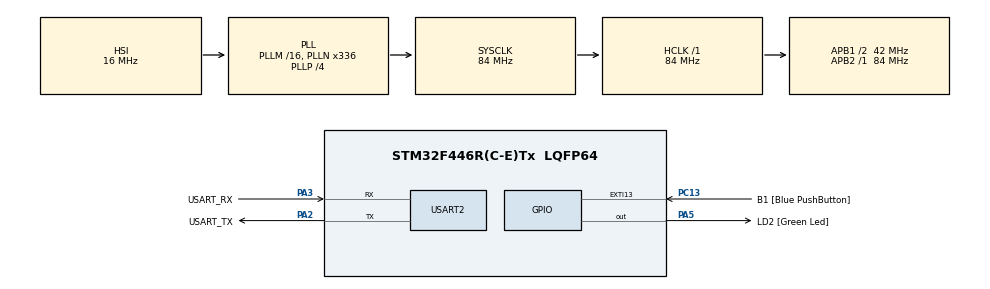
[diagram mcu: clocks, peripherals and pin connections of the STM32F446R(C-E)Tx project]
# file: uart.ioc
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Mcu.Family=STM32F4
Mcu.Name=STM32F446R(C-E)Tx
Mcu.Package=LQFP64
NVIC.PriorityGroup=NVIC_PRIORITYGROUP_0
NVIC.USART2_IRQn=true\:0\:0\:false\:false\:true\:true\:true\:true
PA13.GPIO_Label=TMS
PA13.Mode=Serial_Wire
PA13.Signal=SYS_JTMS-SWDIO
PA14.GPIO_Label=TCK
PA14.Mode=Serial_Wire
PA14.Signal=SYS_JTCK-SWCLK
PA2.GPIO_Label=USART_TX
PA2.Mode=Asynchronous
PA2.Signal=USART2_TX
PA3.GPIO_Label=USART_RX
PA3.Mode=Asynchronous
PA3.Signal=USART2_RX
PA5.GPIO_Label=LD2 [Green Led]
PA5.Signal=GPIO_Output
PB3.GPIO_Label=SWO
PB3.Signal=SYS_JTDO-SWO
PC13.GPIO_Label=B1 [Blue PushButton]
PC13.GPIO_ModeDefaultEXTI=GPIO_MODE_IT_FALLING
PC13.Signal=GPXTI13
PC14-OSC32_IN.Mode=LSE-External-Oscillator
PC14-OSC32_IN.Signal=RCC_OSC32_IN
PC15-OSC32_OUT.Mode=LSE-External-Oscillator
PC15-OSC32_OUT.Signal=RCC_OSC32_OUT
PH0-OSC_IN.Mode=HSE-External-Oscillator
PH0-OSC_IN.Signal=RCC_OSC_IN
PH1-OSC_OUT.Mode=HSE-External-Oscillator
PH1-OSC_OUT.Signal=RCC_OSC_OUT
ProjectManager.HeapSize=0x200
ProjectManager.StackSize=0x400
ProjectManager.TargetToolchain=STM32CubeIDE
RCC.48MHZClocksFreq_Value=84000000
RCC.AHBFreq_Value=84000000
RCC.APB1CLKDivider=RCC_HCLK_DIV2
RCC.APB1Freq_Value=42000000
RCC.APB1TimFreq_Value=84000000
RCC.APB2Freq_Value=84000000
RCC.APB2TimFreq_Value=84000000
RCC.CortexFreq_Value=84000000
RCC.FLatency-AdvancedSettings=FLASH_LATENCY_2
RCC.HCLKFreq_Value=84000000
RCC.HSE_VALUE=8000000
RCC.HSI_VALUE=16000000
RCC.PLLN=336
RCC.PLLP=RCC_PLLP_DIV4
RCC.SYSCLKFreq_VALUE=84000000
RCC.SYSCLKSource=RCC_SYSCLKSOURCE_PLLCLK
RCC.USBFreq_Value=168000000
RCC.VCOOutputFreq_Value=336000000
USART2.VirtualMode=VM_ASYNC
board=NUCLEO-F446RE

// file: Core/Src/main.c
/* USER CODE BEGIN Header */
/**
 ******************************************************************************
 * @file           : main.c
 * @brief          : Main program body
 ******************************************************************************
 * @attention
 *
 * Copyright (c) 2025 STMicroelectronics.
 * All rights reserved.
 *
 * This software is licensed under terms that can be found in the LICENSE file
 * in the root directory of this software component.
 * If no LICENSE file comes with this software, it is provided AS-IS.
 *
 ******************************************************************************
 */
/* USER CODE END Header */
#include "main.h"

/* USER CODE BEGIN PM */
#define TIEMPO_500_MS 500
#define TIEMPO_100_MS 100
#define BUTTON_PIN GPIO_PIN_13
#define BUTTON_PORT GPIOC
#define LED_PIN GPIO_PIN_5
#define LED_PORT GPIOA
/* USER CODE END PM */

UART_HandleTypeDef huart2;

void SystemClock_Config(void);
static void MX_GPIO_Init(void);
static void MX_USART2_UART_Init(void);

/* USER CODE BEGIN 0 */
char data_rx[10];
volatile uint8_t rx_flag = 0;
volatile uint8_t tx_flag = 0;
/* USER CODE END 0 */

int main(void)
{

	/* MCU Configuration--------------------------------------------------------*/

	/* Reset of all peripherals, Initializes the Flash interface and the Systick. */
	HAL_Init();

	/* Configure the system clock */
	SystemClock_Config();

	/* Initialize all configured peripherals */
	MX_GPIO_Init();
	MX_USART2_UART_Init();
	/* USER CODE BEGIN 2 */

	// Parte 1
	//HAL_UART_Transmit(&huart2, "Hola buenas noches \n\r", 23, HAL_MAX_DELAY);

	// Parte 2 NVIC
	HAL_UART_Receive_IT(&huart2, data_rx, sizeof(data_rx));

	// Parte 3 TX NVIC
	HAL_UART_Transmit_IT(&huart2, "hola mundo\n\r", 14);
	/* USER CODE END 2 */

	/* Infinite loop */
	while (1)
	{

		/* USER CODE BEGIN 3 */
		// Parte 1
		/*
		if (HAL_UART_Receive(&huart2, data_rx, sizeof(data_rx), HAL_MAX_DELAY) == HAL_OK)
		{
			HAL_UART_Transmit(&huart2, data_rx, sizeof(data_rx), HAL_MAX_DELAY);
		}
		 */

		// Parte 2
		if (rx_flag == 1)
		{
			HAL_GPIO_TogglePin(LD2_GPIO_Port, LD2_Pin);
			rx_flag = 0;
		}
		if (tx_flag == 1)
		{
			HAL_GPIO_TogglePin(LD2_GPIO_Port, LD2_Pin);
			tx_flag = 0;
		}
	}
	/* USER CODE END 3 */
}

void SystemClock_Config(void)
{
	RCC_OscInitTypeDef RCC_OscInitStruct = {0};
	RCC_ClkInitTypeDef RCC_ClkInitStruct = {0};

	/** Configure the main internal regulator output voltage
	 */
	__HAL_RCC_PWR_CLK_ENABLE();
	__HAL_PWR_VOLTAGESCALING_CONFIG(PWR_REGULATOR_VOLTAGE_SCALE3);

	/** Initializes the RCC Oscillators according to the specified parameters
	 * in the RCC_OscInitTypeDef structure.
	 */
	RCC_OscInitStruct.OscillatorType = RCC_OSCILLATORTYPE_HSI;
	RCC_OscInitStruct.HSIState = RCC_HSI_ON;
	RCC_OscInitStruct.HSICalibrationValue = RCC_HSICALIBRATION_DEFAULT;
	RCC_OscInitStruct.PLL.PLLState = RCC_PLL_ON;
	RCC_OscInitStruct.PLL.PLLSource = RCC_PLLSOURCE_HSI;
	RCC_OscInitStruct.PLL.PLLM = 16;
	RCC_OscInitStruct.PLL.PLLN = 336;
	RCC_OscInitStruct.PLL.PLLP = RCC_PLLP_DIV4;
	RCC_OscInitStruct.PLL.PLLQ = 2;
	RCC_OscInitStruct.PLL.PLLR = 2;
	if (HAL_RCC_OscConfig(&RCC_OscInitStruct) != HAL_OK)
	{
		Error_Handler();
	}

	/** Initializes the CPU, AHB and APB buses clocks
	 */
	RCC_ClkInitStruct.ClockType = RCC_CLOCKTYPE_HCLK|RCC_CLOCKTYPE_SYSCLK
			|RCC_CLOCKTYPE_PCLK1|RCC_CLOCKTYPE_PCLK2;
	RCC_ClkInitStruct.SYSCLKSource = RCC_SYSCLKSOURCE_PLLCLK;
	RCC_ClkInitStruct.AHBCLKDivider = RCC_SYSCLK_DIV1;
	RCC_ClkInitStruct.APB1CLKDivider = RCC_HCLK_DIV2;
	RCC_ClkInitStruct.APB2CLKDivider = RCC_HCLK_DIV1;

	if (HAL_RCC_ClockConfig(&RCC_ClkInitStruct, FLASH_LATENCY_2) != HAL_OK)
	{
		Error_Handler();
	}
}

static void MX_USART2_UART_Init(void)
{

	huart2.Instance = USART2;
	huart2.Init.BaudRate = 115200;
	huart2.Init.WordLength = UART_WORDLENGTH_8B;
	huart2.Init.StopBits = UART_STOPBITS_1;
	huart2.Init.Parity = UART_PARITY_NONE;
	huart2.Init.Mode = UART_MODE_TX_RX;
	huart2.Init.HwFlowCtl = UART_HWCONTROL_NONE;
	huart2.Init.OverSampling = UART_OVERSAMPLING_16;
	if (HAL_UART_Init(&huart2) != HAL_OK)
	{
		Error_Handler();
	}

}

static void MX_GPIO_Init(void)
{
	GPIO_InitTypeDef GPIO_InitStruct = {0};

	/* GPIO Ports Clock Enable */
	__HAL_RCC_GPIOC_CLK_ENABLE();
	__HAL_RCC_GPIOH_CLK_ENABLE();
	__HAL_RCC_GPIOA_CLK_ENABLE();
	__HAL_RCC_GPIOB_CLK_ENABLE();

	/*Configure GPIO pin Output Level */
	HAL_GPIO_WritePin(LD2_GPIO_Port, LD2_Pin, GPIO_PIN_RESET);

	/*Configure GPIO pin : B1_Pin */
	GPIO_InitStruct.Pin = B1_Pin;
	GPIO_InitStruct.Mode = GPIO_MODE_IT_FALLING;
	GPIO_InitStruct.Pull = GPIO_NOPULL;
	HAL_GPIO_Init(B1_GPIO_Port, &GPIO_InitStruct);

	/*Configure GPIO pin : LD2_Pin */
	GPIO_InitStruct.Pin = LD2_Pin;
	GPIO_InitStruct.Mode = GPIO_MODE_OUTPUT_PP;
	GPIO_InitStruct.Pull = GPIO_NOPULL;
	GPIO_InitStruct.Speed = GPIO_SPEED_FREQ_LOW;
	HAL_GPIO_Init(LD2_GPIO_Port, &GPIO_InitStruct);

}

/* USER CODE BEGIN 4 */
void HAL_UART_RxCpltCallback(UART_HandleTypeDef *huart)
{
	// TODO: QUE HAREMOS
	rx_flag = 1;
	//HAL_UART_Transmit(&huart2, data_rx, sizeof(data_rx), HAL_MAX_DELAY);
	HAL_UART_Transmit_IT(&huart2, data_rx, sizeof(data_rx));
	HAL_UART_Receive_IT(&huart2, data_rx, sizeof(data_rx));
}

void HAL_UART_TxCpltCallback(UART_HandleTypeDef *huart)
{
	tx_flag = 1;
}
/* USER CODE END 4 */

void Error_Handler(void)
{
	__disable_irq();
	while (1)
	{
	}
}
